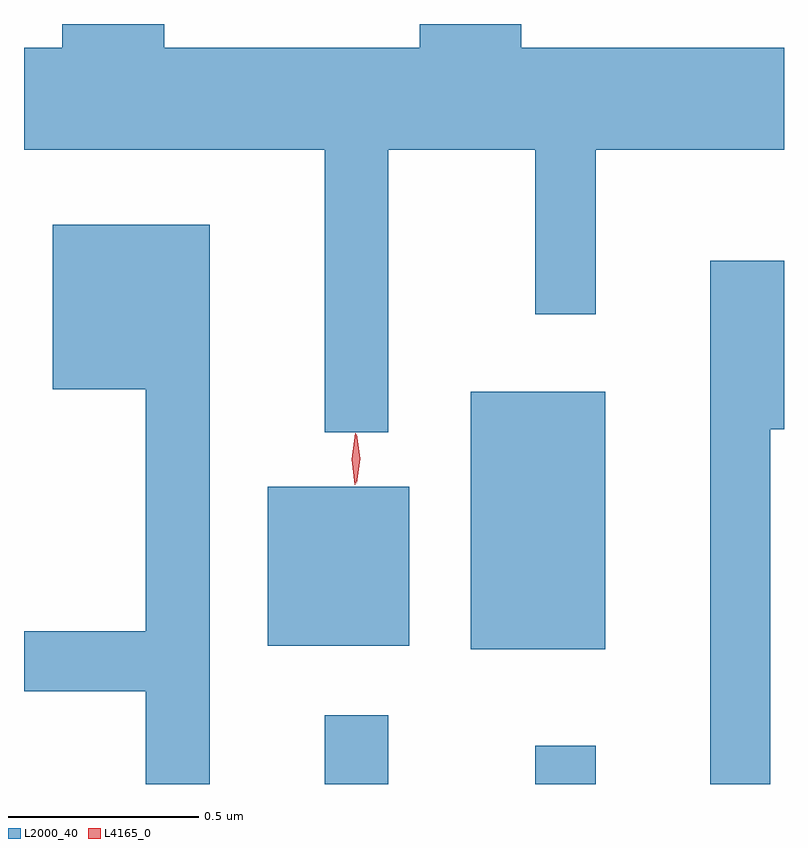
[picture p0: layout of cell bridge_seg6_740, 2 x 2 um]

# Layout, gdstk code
import gdstk
lib = gdstk.Library(unit=1e-6, precision=1e-09)
def R(c, l, rs):  # rectangles x0, y0, x1, y1
    for r in rs: c.add(gdstk.rectangle(r[:2], r[2:], *l))
def P(c, l, *ps):  # polygons
    for p in ps: c.add(gdstk.Polygon(p, *l))
L2000_40 = (2000, 40)
L4165_0 = (4165, 0)

bridge_seg6_740 = lib.new_cell('bridge_seg6_740')
R(bridge_seg6_740, L2000_40, [(239.691,1535.047,239.859,1535.228), (240.246,1535.047,240.404,1535.148), (240.076,1535.401,240.429,1536.079), (239.541,1535.411,239.914,1535.829)])
P(bridge_seg6_740, L2000_40, [(239.859,1536.716),(240.246,1536.716),(240.246,1536.283),(240.404,1536.283),(240.404,1536.716),(240.9,1536.716),(240.9,1536.984),(240.209,1536.984),(240.209,1537.047),(239.941,1537.047),(239.941,1536.984),(239.269,1536.984),(239.269,1537.047),(239.001,1537.047),(239.001,1536.984),(238.9,1536.984),(238.9,1536.716),(239.691,1536.716),(239.691,1535.973),(239.859,1535.973)],
  [(239.389,1536.519),(238.976,1536.519),(238.976,1536.086),(239.221,1536.086),(239.221,1535.449),(238.9,1535.449),(238.9,1535.291),(239.221,1535.291),(239.221,1535.047),(239.389,1535.047)],
  [(240.864,1535.981),(240.9,1535.981),(240.9,1536.424),(240.706,1536.424),(240.706,1535.047),(240.864,1535.047)])
P(bridge_seg6_740, L4165_0, [(239.775,1535.838),(239.775,1535.839),(239.765,1535.903),(239.775,1535.967),(239.775,1535.967),(239.776,1535.967),(239.785,1535.903),(239.776,1535.839)],
  [(239.771,1535.834),(239.771,1535.834),(239.762,1535.902),(239.772,1535.97),(239.773,1535.97),(239.773,1535.97),(239.782,1535.902),(239.772,1535.834)])

lib.write_gds('bridge_seg6_740.gds')
